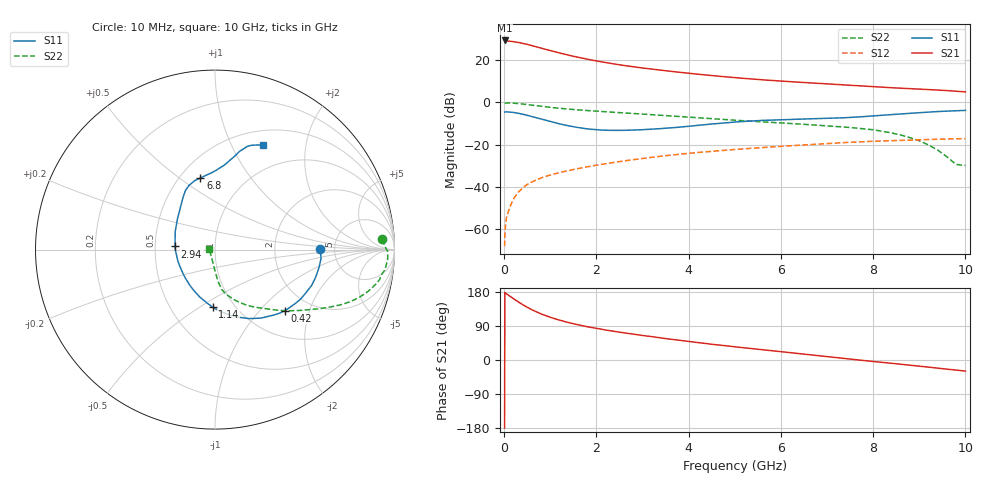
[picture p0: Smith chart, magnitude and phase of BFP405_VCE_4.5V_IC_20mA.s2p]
! Infineon Technologies  Discrete & RF Semiconductors
! BFP405
! VCE =  4.5 V,  IC =  20 mA
! Common Emitter S-Parameters:  Jan 2016
# GHz  S  MA  R  50
!  f  S11  S21  S12  S22
! GHz  MAG  ANG  MAG  ANG  MAG  ANG  MAG  ANG
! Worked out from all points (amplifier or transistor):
!   233 points, 10 MHz to 10 GHz, reference 50 ohm
!   highest |S21| = 29.1 dB at 10 MHz (marker M1)
!   |S21| within 3 dB of that: start of sweep to 696.9 MHz
!   unconditionally stable (mu >= 1): start of sweep to 35.02 MHz; 1.951 GHz to end of sweep
!   at 200 MHz: K = 0.35, MSG = 37.2 dB, |S12| = -45.8 dB
!   at 1.74 GHz: K = 0.95, MSG = 25.7 dB, |S12| = -30.8 dB
!   at 10 GHz: K = 1.33, MAG = 7.6 dB, |S12| = -17.2 dB
!   S11 on the Smith chart (normalised r, x): 10 MHz: 3.81, +0.02; 420 MHz: 1.49, -1.39; 1.14 GHz: 0.79, -0.57; 2.94 GHz: 0.64, +0.02; 6.8 GHz: 0.63, +0.60; 10 GHz: 0.67, +1.33
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0.01  0.5843 0.2  28.66 -179.5  0.0004 -1.0  0.9336 3.5
0.02  0.5885 -1.2  28.28 176.4  0.0009 66.0  0.9475 1.0
0.05  0.593 -4.9  27.76 174.9  0.0019 65.9  0.9617 -0.6
0.1  0.5879 -9.9  27.66 170.3  0.0028 72.4  0.964 -3.0
0.195  0.5751 -19.7  26.94 162.4  0.005 75.1  0.9523 -6.8
0.3  0.5503 -30.3  25.91 153.9  0.0074 74.1  0.9325 -10.3
0.42  0.5155 -41.3  24.29 144.6  0.0098 71.5  0.8995 -13.8
0.5  0.4904 -48.0  23.18 139.1  0.0114 70.1  0.8778 -15.8
0.6  0.4598 -56.1  21.66 132.6  0.0131 68.2  0.8508 -18.0
0.7  0.4295 -63.5  20.25 127.0  0.0147 67.1  0.8243 -19.9
0.9  0.3744 -77.3  17.67 116.9  0.0177 65.4  0.777 -23.0
1.14  0.32 -92.4  15.09 107.3  0.021 64.3  0.7294 -25.7
1.38  0.2796 -106.8  13.02 99.2  0.0241 63.5  0.6901 -28.1
1.68  0.2455 -123.9  11.03 90.9  0.0281 62.7  0.6498 -30.7
2.22  0.2178 -152.8  8.546 78.8  0.0356 61.1  0.5929 -34.7
2.94  0.2228 175.4  6.544 65.8  0.0461 57.7  0.5296 -40.0
3.4  0.238 158.8  5.686 58.3  0.0531 54.8  0.4905 -43.6
4  0.2705 140.6  4.811 48.8  0.0621 50.8  0.4425 -48.4
5.1  0.3466 120.4  3.722 33.5  0.078 42.5  0.3702 -58.1
6.8  0.4074 101.5  2.78 11.6  0.1027 29.4  0.2861 -71.0
8.4  0.51 80.0  2.196 -8.7  0.1238 14.9  0.1881 -83.5
10  0.6413 65.5  1.752 -29.3  0.1384 1.6  0.0321 175.6
